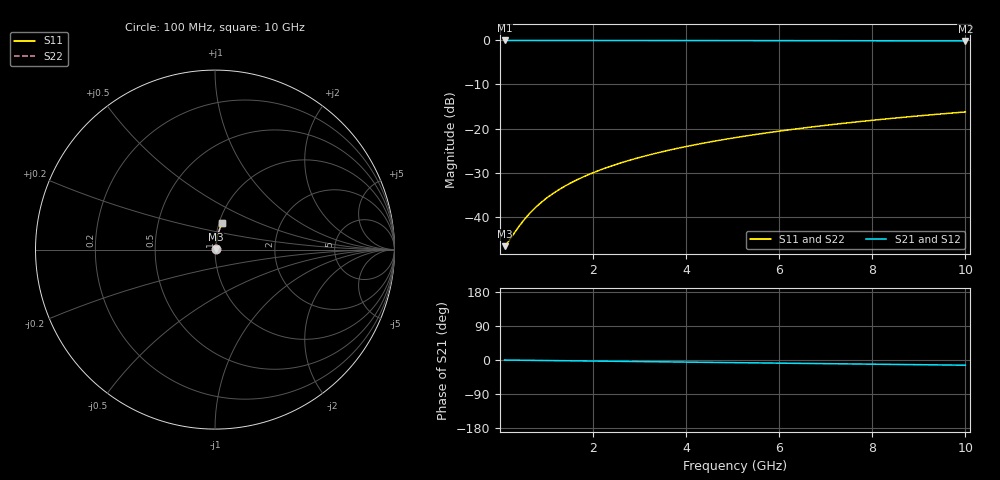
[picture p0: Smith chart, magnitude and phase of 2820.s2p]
# Hz S RI R 50.00
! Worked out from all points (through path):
!   100 points, 100 MHz to 10 GHz, reference 50 ohm
!   highest |S21| = -0.04 dB at 100 MHz (marker M1); lowest = -0.1 dB at 10 GHz (marker M2)
!   group delay of S21, straight-line fit = 3.82 ps
!   lowest |S11| = -46.6 dB at 100 MHz (marker M3), VSWR 1.01, Z = 50.4 + j0.157 ohm
!   |S11| at or under -10 dB: start of sweep to end of sweep
!   |S22| runs from -46.6 to -16.2 dB; largest |S21 - S12| = 0
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1e8  0.0044 0.00156  0.9956 -0.0024  0.9956 -0.0024  0.0044 0.00156
2e8  0.00444 0.00311  0.9956 -0.0048  0.9956 -0.0048  0.00444 0.00311
4e8  0.00453 0.00623  0.9955 -0.0096  0.9955 -0.0096  0.00453 0.00623
5e8  0.00457 0.00778  0.9954 -0.012  0.9954 -0.012  0.00457 0.00778
6e8  0.00463 0.00934  0.9954 -0.0144  0.9954 -0.0144  0.00463 0.00934
7e8  0.00469 0.0109  0.9953 -0.0168  0.9953 -0.0168  0.00469 0.0109
8e8  0.00476 0.0124  0.9952 -0.0192  0.9952 -0.0192  0.00476 0.0124
1e9  0.00491 0.0156  0.995 -0.024  0.995 -0.024  0.00491 0.0156
1.2e9  0.00509 0.0187  0.9948 -0.0288  0.9948 -0.0288  0.00509 0.0187
1.5e9  0.00542 0.0233  0.9945 -0.036  0.9945 -0.036  0.00542 0.0233
1.8e9  0.00581 0.028  0.9941 -0.0431  0.9941 -0.0431  0.00581 0.028
2.1e9  0.00626 0.0326  0.9936 -0.0503  0.9936 -0.0503  0.00626 0.0326
2.5e9  0.00697 0.0388  0.9928 -0.0599  0.9928 -0.0599  0.00697 0.0388
2.9e9  0.0078 0.045  0.9919 -0.0694  0.9919 -0.0694  0.0078 0.045
3.4e9  0.009 0.0526  0.9906 -0.0813  0.9906 -0.0813  0.009 0.0526
4.2e9  0.0113 0.0648  0.988 -0.1003  0.988 -0.1003  0.0113 0.0648
5.1e9  0.0144 0.0784  0.9846 -0.1215  0.9846 -0.1215  0.0144 0.0784
5.9e9  0.0177 0.0904  0.981 -0.1402  0.981 -0.1402  0.0177 0.0904
6.7e9  0.0214 0.1022  0.9769 -0.1588  0.9769 -0.1588  0.0214 0.1022
7.5e9  0.0256 0.1138  0.9723 -0.1772  0.9723 -0.1772  0.0256 0.1138
8.4e9  0.0308 0.1266  0.9666 -0.1977  0.9666 -0.1977  0.0308 0.1266
1e10  0.0413 0.1488  0.955 -0.2335  0.955 -0.2335  0.0413 0.1488
